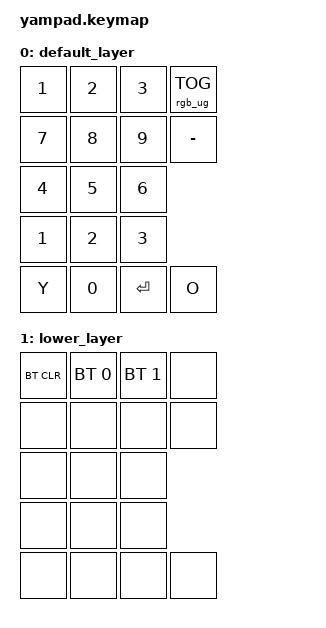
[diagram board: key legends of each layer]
#include <behaviors.dtsi>
#include <dt-bindings/zmk/keys.h>
#include <dt-bindings/zmk/bt.h>
#include <dt-bindings/zmk/rgb.h>

/ {
        keymap {
                compatible = "zmk,keymap";

                default_layer {
                      bindings = <
                       &kp N1       &kp N2       &kp N3       &rgb_ug RGB_TOG
                       &kp N7       &kp N8       &kp N9       &kp MINUS 
                       &kp N4       &kp N5       &kp N6 
                       &kp N1       &kp N2       &kp N3
                       &kp Y        &kp N0       &kp RET      &kp O 

                                            >;
                              };

                lower_layer {
                      bindings = <
                          &bt BT_CLR       &bt BT_SEL 0     &bt BT_SEL 1       &none
                          &none            &none            &none              &none
                          &none            &none            &none
                          &none            &none            &none
                          &none            &none            &none              &none

                                                                          >;
                              };
};
};
